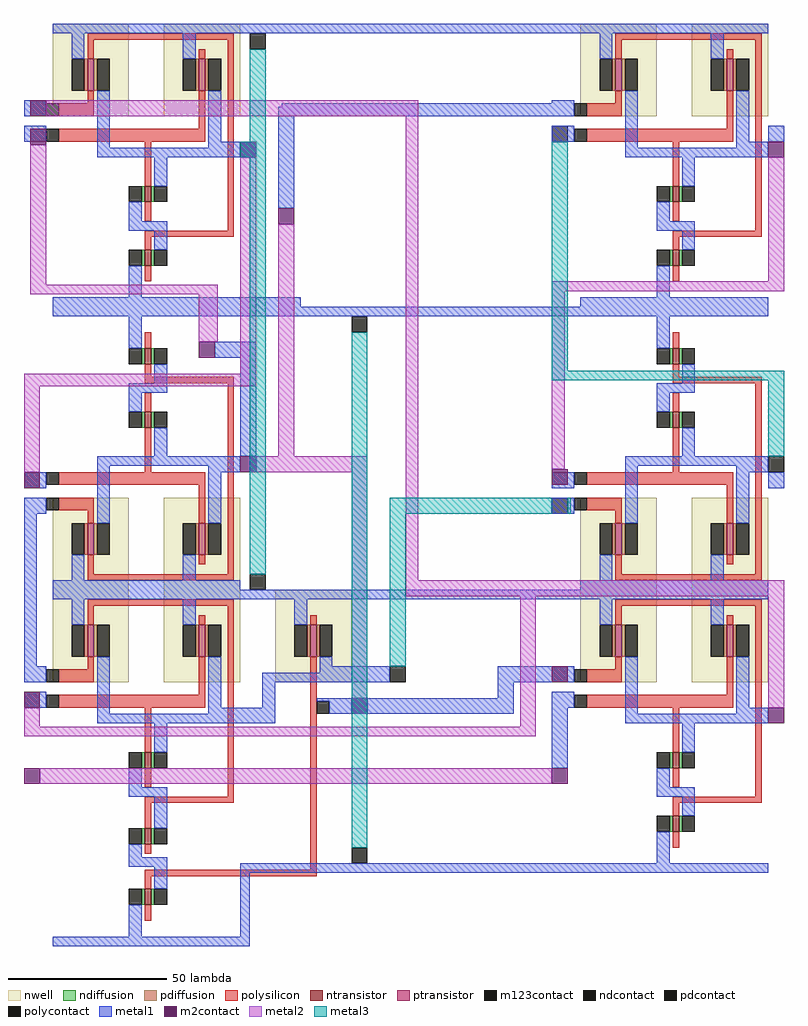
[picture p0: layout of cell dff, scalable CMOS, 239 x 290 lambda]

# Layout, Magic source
magic
tech scmos
<< metal1 >>
rect 67 86 175 89
rect 81 63 168 64
rect 80 60 168 63
rect 6 56 7 57
rect 80 31 85 60
rect 234 52 239 57
rect 68 0 87 3
rect 68 -3 175 0
rect 60 -16 73 -11
rect 68 -47 73 -16
rect 234 -57 239 -52
rect 0 -117 4 -60
rect 103 -92 210 -89
rect 103 -118 115 -113
rect 149 -118 166 -113
rect 149 -123 154 -118
rect 108 -128 154 -123
rect 166 -145 171 -125
rect 68 -178 175 -175
rect 68 -201 71 -178
<< m2contact >>
rect 2 60 7 65
rect 2 51 7 56
rect 68 47 73 52
rect 234 47 239 52
rect 80 26 85 31
rect 55 -16 60 -11
rect 68 -52 73 -47
rect 0 -57 5 -52
rect 166 -56 171 -51
rect 166 -118 171 -113
rect 0 -126 5 -121
rect 103 -128 108 -123
rect 234 -131 239 -126
rect 0 -150 5 -145
rect 166 -150 171 -145
<< metal2 >>
rect 7 60 124 65
rect 2 7 7 51
rect 2 4 61 7
rect 55 -11 61 4
rect 68 -21 73 47
rect 0 -25 73 -21
rect 0 -52 5 -25
rect 80 -47 85 26
rect 73 -52 108 -47
rect 0 -132 5 -126
rect 103 -123 108 -52
rect 120 -86 124 60
rect 234 8 239 47
rect 166 5 239 8
rect 166 -51 170 5
rect 120 -91 239 -86
rect 156 -132 161 -91
rect 234 -126 239 -91
rect 0 -135 161 -132
rect 5 -150 166 -145
<< m123contact >>
rect 71 81 76 86
rect 103 -8 108 -3
rect 71 -89 76 -84
rect 166 52 171 57
rect 234 -52 239 -47
rect 166 -65 171 -60
rect 115 -118 120 -113
rect 103 -175 108 -170
<< metal3 >>
rect 71 52 76 81
rect 68 47 76 52
rect 71 -84 76 47
rect 103 -170 108 -8
rect 166 -20 171 52
rect 166 -23 239 -20
rect 234 -47 239 -23
rect 115 -65 166 -60
rect 171 -65 172 -60
rect 115 -113 120 -65
use nand  nand_0
transform 1 0 46 0 1 63
box -46 -63 22 26
use nand  nand_1
transform 1 0 46 0 -1 -63
box -46 -63 22 26
use nand  nand_2
transform 1 0 212 0 1 63
box -46 -63 22 26
use nand  nand_3
transform 1 0 212 0 -1 -63
box -46 -63 22 26
use nand3  nand3_0
transform 1 0 46 0 1 -115
box -46 -86 57 26
use nand  nand_4
transform 1 0 212 0 1 -115
box -46 -63 22 26
<< end >>

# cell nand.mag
magic
tech scmos
<< nwell >>
rect -37 -3 -13 26
rect -2 -3 22 26
<< ntransistor >>
rect -8 -30 -6 -25
rect -8 -50 -6 -45
<< ptransistor >>
rect -26 5 -24 15
rect 9 5 11 15
<< ndiffusion >>
rect -9 -30 -8 -25
rect -6 -30 -5 -25
rect -9 -50 -8 -45
rect -6 -50 -5 -45
<< pdiffusion >>
rect -27 5 -26 15
rect -24 5 -23 15
rect 8 5 9 15
rect 11 5 12 15
<< ndcontact >>
rect -13 -30 -9 -25
rect -5 -30 -1 -25
rect -13 -50 -9 -45
rect -5 -50 -1 -45
<< pdcontact >>
rect -31 5 -27 15
rect -23 5 -19 15
rect 4 5 8 15
rect 12 5 16 15
<< polysilicon >>
rect -26 21 20 23
rect -26 15 -24 21
rect 9 15 11 18
rect -26 1 -24 5
rect -35 -3 -24 1
rect 9 -7 11 5
rect -35 -11 11 -7
rect -8 -25 -6 -11
rect -8 -36 -6 -30
rect 18 -39 20 21
rect -8 -41 20 -39
rect -8 -45 -6 -41
rect -8 -55 -6 -50
<< polycontact >>
rect -39 -3 -35 1
rect -39 -11 -35 -7
<< metal1 >>
rect -37 23 22 26
rect -31 15 -27 23
rect 4 15 8 23
rect -46 -3 -39 2
rect -46 -11 -39 -6
rect -23 -13 -19 5
rect 12 -11 16 5
rect 12 -13 22 -11
rect -23 -16 22 -13
rect -5 -25 -1 -16
rect -13 -36 -9 -30
rect -13 -39 -1 -36
rect -5 -45 -1 -39
rect -13 -60 -9 -50
rect -37 -63 22 -60
<< end >>

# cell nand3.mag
magic
tech scmos
<< nwell >>
rect -37 -3 -13 26
rect -2 -3 22 26
rect 33 -3 57 26
<< ntransistor >>
rect -8 -30 -6 -25
rect -8 -54 -6 -49
rect -8 -73 -6 -68
<< ptransistor >>
rect -26 5 -24 15
rect 9 5 11 15
rect 44 5 46 15
<< ndiffusion >>
rect -9 -30 -8 -25
rect -6 -30 -5 -25
rect -9 -54 -8 -49
rect -6 -54 -5 -49
rect -9 -73 -8 -68
rect -6 -73 -5 -68
<< pdiffusion >>
rect -27 5 -26 15
rect -24 5 -23 15
rect 8 5 9 15
rect 11 5 12 15
rect 43 5 44 15
rect 46 5 47 15
<< ndcontact >>
rect -13 -30 -9 -25
rect -5 -30 -1 -25
rect -13 -54 -9 -49
rect -5 -54 -1 -49
rect -13 -73 -9 -68
rect -5 -73 -1 -68
<< pdcontact >>
rect -31 5 -27 15
rect -23 5 -19 15
rect 4 5 8 15
rect 12 5 16 15
rect 39 5 43 15
rect 47 5 51 15
<< polysilicon >>
rect -26 21 20 23
rect -26 15 -24 21
rect 9 15 11 18
rect -26 1 -24 5
rect -35 -3 -24 1
rect 9 -7 11 5
rect -35 -11 11 -7
rect -8 -25 -6 -11
rect -8 -36 -6 -30
rect 18 -39 20 21
rect 44 15 46 18
rect -8 -41 20 -39
rect -8 -49 -6 -41
rect -8 -57 -6 -54
rect 44 -62 46 5
rect -8 -64 46 -62
rect -8 -68 -6 -64
rect -8 -78 -6 -73
<< polycontact >>
rect -39 -3 -35 1
rect -39 -11 -35 -7
rect 46 -13 50 -9
<< metal1 >>
rect -37 23 57 26
rect -31 15 -27 23
rect 4 15 8 23
rect 39 15 43 23
rect -46 -3 -39 2
rect -46 -11 -39 -6
rect -23 -13 -19 5
rect 12 -11 16 5
rect 47 2 51 5
rect 47 0 57 2
rect 29 -3 57 0
rect 29 -11 33 -3
rect 12 -13 33 -11
rect 46 -9 57 -8
rect 50 -13 57 -9
rect -23 -16 33 -13
rect -5 -25 -1 -16
rect -13 -36 -9 -30
rect -13 -39 -1 -36
rect -5 -49 -1 -39
rect -13 -58 -9 -54
rect -13 -61 -1 -58
rect -5 -68 -1 -61
rect -13 -83 -9 -73
rect -37 -86 22 -83
<< end >>
